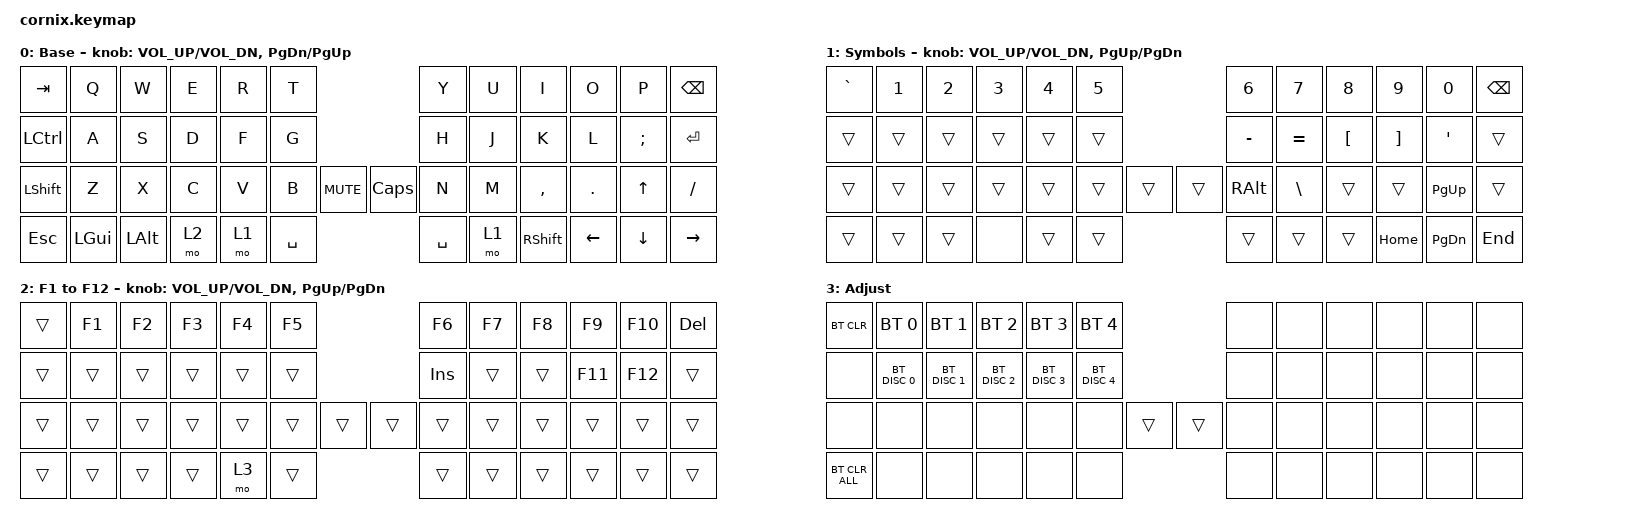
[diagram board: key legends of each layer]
/*
 * Copyright (c) 2020 The ZMK Contributors
 *
 * SPDX-License-Identifier: MIT
 */

#include "zmk-helpers/helper.h"
#include "includes/cornix54.h"

// tap windows for ctl alt and gui

#define HM_TAPPING_TERM 250
#define HM_TAPPING_REPEAT 210

// quick tapping for shift

#define HM_TAPPING_TERM_FAST 200
#define HM_PRIOR_IDLE 70
#define BASE 0
#define WIN 1
#define LOWER 2
#define RAISE 3
#define ADJUST 4
#define NAVI   5
#define NUM    6
#define DEBUG  7

// https://github.com/urob/zmk-config/tree/main#timeless-homerow-mods

#define KEYS_L LT0 LT1 LT2 LT3 LT4 LT5 LM0 LM1 LM2 LM3 LM4 LM5 LB0 LB1 LB2 LB3 LB4 LB5  // left hand
#define KEYS_R RT0 RT1 RT2 RT3 RT4 RT5 RM0 RM1 RM2 RM3 RM4 RM5 RB0 RB1 RB2 RB3 RB4 RB5  // right hand
#define THUMBS LH1 LH0 RH0 RH1
#define KEYS_T LH1 LH0 RH0 RH1
#define ZMK_POINTING_DEFAULT_SCRL_VAL 15

#include <behaviors.dtsi>
#include <dt-bindings/zmk/bt.h>
#include <dt-bindings/zmk/keys.h>

/ {
    // Activate ADJUST layer by pressing raise and lower

    behaviors {
        hm_l: homerow_mods_left {
            compatible = "zmk,behavior-hold-tap";
            #binding-cells = <2>;
            bindings = <&kp>, <&kp>;

            flavor = "balanced";
            tapping-term-ms = <HM_TAPPING_TERM>;
            quick-tap-ms = <200>;                // repeat on tap-into-hold
            require-prior-idle-ms = <HM_PRIOR_IDLE>;
            hold-trigger-key-positions = <KEYS_R KEYS_T>;
            hold-trigger-on-release;
        };

        hm_r: homerow_mods_right {
            compatible = "zmk,behavior-hold-tap";
            #binding-cells = <2>;
            bindings = <&kp>, <&kp>;

            flavor = "balanced";
            tapping-term-ms = <HM_TAPPING_TERM>;
            quick-tap-ms = <200>;
            require-prior-idle-ms = <HM_PRIOR_IDLE>;
            hold-trigger-key-positions = <KEYS_L KEYS_T>;
            hold-trigger-on-release;
        };

        // Positional Homerow mods for shift
        // Use faster tapping term and disable some features that may
        // cause false negatives.

        hm_shift_l: hm_shift_l {
            compatible = "zmk,behavior-hold-tap";
            #binding-cells = <2>;
            bindings = <&kp>, <&kp>;

            //flavor = "balanced";

            flavor = "balanced";
            tapping-term-ms = <HM_TAPPING_TERM_FAST>;
            quick-tap-ms = <200>;
            require-prior-idle-ms = <HM_PRIOR_IDLE>;
            hold-trigger-key-positions = <KEYS_R KEYS_T>;
            hold-trigger-on-release;
        };

        hm_shift_r: hm_shift_r {
            compatible = "zmk,behavior-hold-tap";
            #binding-cells = <2>;
            bindings = <&kp>, <&kp>;

            flavor = "balanced";
            tapping-term-ms = <HM_TAPPING_TERM_FAST>;
            quick-tap-ms = <200>;
            require-prior-idle-ms = <HM_PRIOR_IDLE>;
            hold-trigger-key-positions = <KEYS_L KEYS_T>;

            // for quick tapping; shift+~

            hold-trigger-on-release;
        };

        /*
         * Non-Positional Homerow Mods
         * Used for &mm_grescm_gui behavior on left hand.
         *
         * Usage: &hm LSHFT T
         * Tap: T
         * Tap-Tap-Hold: Repeat T
         * Hold: LSHIFT
         */

        hm: homerow_mods {
            compatible = "zmk,behavior-hold-tap";
            #binding-cells = <2>;
            bindings = <&kp>, <&kp>;

            flavor = "balanced";
            tapping-term-ms = <HM_TAPPING_TERM>;
            quick-tap-ms = <200>;
        };

        lt: layer_tap {
            compatible = "zmk,behavior-hold-tap";
            #binding-cells = <2>;
            bindings = <&mo>, <&kp>;

            flavor = "hold-preferred";
            tapping-term-ms = <HM_TAPPING_TERM>;
            quick-tap-ms = <200>;
        };
    };

    conditional_layers { compatible = "zmk,conditional-layers"; };

    combos { compatible = "zmk,combos"; };

    keymap {
        compatible = "zmk,keymap";

        default_layer {
            display-name = "Base";

            // ------------------------------------------------------------------------------------------------------------
            // |   `   |  1  |  2  |  3   |  4   |  5   |                   |  6   |  7    |  8    |  9   |   0   |       |
            // |  ESC  |  Q  |  W  |  E   |  R   |  T   |                   |  Y   |  U    |  I    |  O   |   P   | BKSPC |
            // |  TAB  |  A  |  S  |  D   |  F   |  G   |                   |  H   |  J    |  K    |  L   |   ;   |   '   |
            // | SHIFT |  Z  |  X  |  C   |  V   |  B   |  MUTE  |  |       |  N   |  M    |  ,    |  .   |   /   | SHIFT |
            //               | GUI | ALT  | CTRL | LOWER|  ENTER |  | SPACE | RAISE| CTRL  | ALT   | GUI  |

            bindings = <
&kp TAB     &kp Q     &kp W         &kp E  &kp R  &kp T                                &kp Y      &kp U  &kp I            &kp O           &kp P           &kp BACKSPACE
&kp LCTRL   &kp A     &kp S         &kp D  &kp F  &kp G                                &kp H      &kp J  &kp K            &kp L           &kp SEMICOLON   &kp ENTER
&kp LSHIFT  &kp Z     &kp X         &kp C  &kp V  &kp B      &kp C_MUTE  &kp CAPSLOCK  &kp N      &kp M  &kp COMMA        &kp DOT         &kp UP_ARROW    &kp SLASH
&kp ESC     &kp LGUI  &kp LEFT_ALT  &mo 2  &mo 1  &kp SPACE                            &kp SPACE  &mo 1  &kp RIGHT_SHIFT  &kp LEFT_ARROW  &kp DOWN_ARROW  &kp RIGHT_ARROW
            >;

            sensor-bindings =
                <&inc_dec_kp C_VOL_UP C_VOL_DN>,
                <&inc_dec_kp PAGE_DOWN PAGE_UP>;
        };

        Symbol_layer {
            display-name = "Symbols";

            // TODO: Some binds are waiting for shifted keycode support.
            // -------------------------------
            // |       |  F1 |  F2 |  F3  |  F4  |  F5  |                   |  F6  |  F7   |  F8   |  F9  |  F10  |  F11  |
            // |   `   |  1  |  2  |  3   |  4   |  5   |                   |  6   |  7    |  8    |  9   |   0   |  F12  |
            // |       |  !  |  @  |  #   |  $   |  %   |                   |  ^   |  &    |  *    |  (   |   )   |   |   |
            // |       |  =  |  -  |  +   |  {   |  }   |        |  |       |  [   |  ]    |  ;    |  :   |   \   |       |
            //               |     |      |      |      |        |  |       |      |       |       |      |

            bindings = <
&kp GRAVE  &kp N1  &kp N2  &kp N3  &kp N4  &kp N5                  &kp N6         &kp N7         &kp N8            &kp N9             &kp N0            &kp BACKSPACE
&trans     &trans  &trans  &trans  &trans  &trans                  &kp MINUS      &kp EQUAL      &kp LEFT_BRACKET  &kp RIGHT_BRACKET  &kp SINGLE_QUOTE  &trans
&trans     &trans  &trans  &trans  &trans  &trans  &trans  &trans  &kp RIGHT_ALT  &kp BACKSLASH  &trans            &trans             &kp PAGE_UP       &trans
&trans     &trans  &trans  &none   &trans  &trans                  &trans         &trans         &trans            &kp HOME           &kp PAGE_DOWN     &kp END
            >;

            sensor-bindings = <&inc_dec_kp C_VOL_UP C_VOL_DN &inc_dec_kp PG_UP PG_DN>;
        };

        fn_layer {
            display-name = "F1 to F12";

            // ------------------------------------------------------------------------------------------------------------
            // |   `   |  1  |  2  |  3   |  4   |  5   |                   |  6   |  7    |  8    |  9   |   0   |       |
            // |  ESC  |  Q  |  W  |  E   |  R   |  T   |                   |  Y   |  U    |  I    |  O   |   P   | BKSPC |
            // |  TAB  |  A  |  S  |  D   |  F   |  G   |                   |  H   |  J    |  K    |  L   |   ;   |   '   |
            // | SHIFT |  Z  |  X  |  C   |  V   |  B   |  MUTE  |  |       |  N   |  M    |  ,    |  .   |   /   | SHIFT |
            //               | GUI | ALT  | CTRL | LOWER|  ENTER |  | SPACE | RAISE| CTRL  | ALT   | GUI  |

            bindings = <
&trans  &kp F1  &kp F2  &kp F3  &kp F4  &kp F5                  &kp F6   &kp F7  &kp F8  &kp F9   &kp F10  &kp DELETE
&trans  &trans  &trans  &trans  &trans  &trans                  &kp INS  &trans  &trans  &kp F11  &kp F12  &trans
&trans  &trans  &trans  &trans  &trans  &trans  &trans  &trans  &trans   &trans  &trans  &trans   &trans   &trans
&trans  &trans  &trans  &trans  &mo 3   &trans                  &trans   &trans  &trans  &trans   &trans   &trans
            >;

            sensor-bindings = <&inc_dec_kp C_VOL_UP C_VOL_DN &inc_dec_kp PG_UP PG_DN>;
        };

        Bluetooth_layer {
            display-name = "Adjust";

            // ----------------------------------------------------------------------------------------------------------------------------
            // | BTCLR  |  BT1    |  BT2    |   BT3   |   BT4   |   BT5   |                  |      |      |       |      |       |       |
            // | moDEBUG| RGB_HUD | RGB_HUI | RGB_SAD | RGB_SAI | RGB_EFF |                  |      |      |       |      |       |       |
            // | EXTPWR | RGB_BRD | RGB_BRI |         |         |         |                  |      |      |       |      |       |       |
            // |        |         |         |         |         |         | RGB_TOG | |      |      |      |       |      |       |       |
            //                    |         |         |         |         |         | |      |      |      |       |      |

            bindings = <
&bt BT_CLR      &bt BT_SEL 0   &bt BT_SEL 1   &bt BT_SEL 2   &bt BT_SEL 3   &bt BT_SEL 4                   &none  &none  &none  &none  &none  &none
&none           &bt BT_DISC 0  &bt BT_DISC 1  &bt BT_DISC 2  &bt BT_DISC 3  &bt BT_DISC 4                  &none  &none  &none  &none  &none  &none
&none           &none          &none          &none          &none          &none          &trans  &trans  &none  &none  &none  &none  &none  &none
&bt BT_CLR_ALL  &none          &none          &none          &none          &none                          &none  &none  &none  &none  &none  &none
            >;
        };
    };
};
